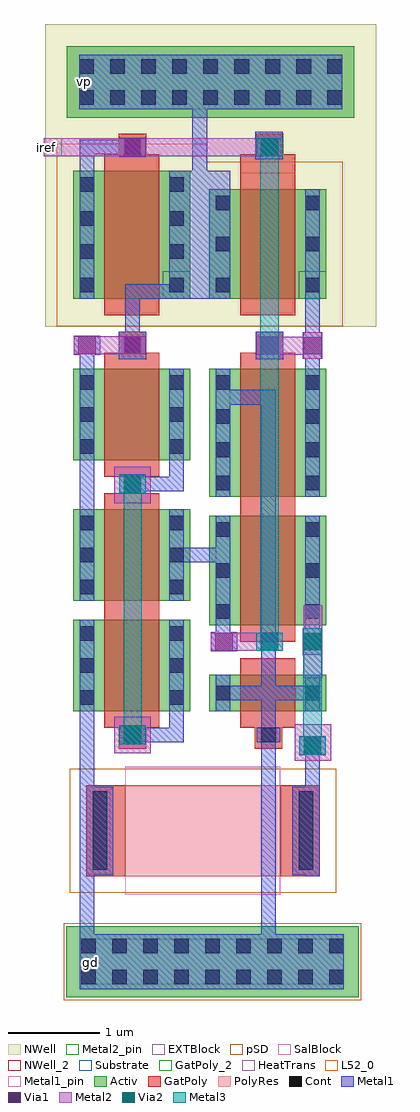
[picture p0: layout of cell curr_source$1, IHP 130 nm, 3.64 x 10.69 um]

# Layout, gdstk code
from math import pi, radians
import gdstk
lib = gdstk.Library(unit=1e-6, precision=1e-09)
def R(c, l, rs):  # rectangles x0, y0, x1, y1
    for r in rs: c.add(gdstk.rectangle(r[:2], r[2:], *l))
def A(c, l, x, y, w, h, nx, ny, dx, dy):  # array of equal rectangles
    R(c, l, [(x+i*dx, y+j*dy, x+i*dx+w, y+j*dy+h) for i in range(nx) for j in range(ny)])
Activ = (1, 0)
GatPoly = (5, 0)
GatPoly_2 = (5, 2)
Cont = (6, 0)
Metal1 = (8, 0)
Metal1_pin = (8, 2)
Metal2 = (10, 0)
Metal2_pin = (10, 2)
pSD = (14, 0)
Via1 = (19, 0)
SalBlock = (28, 0)
Via2 = (29, 0)
Metal3 = (30, 0)
NWell = (31, 0)
NWell_2 = (31, 2)
Substrate = (40, 0)
HeatTrans = (51, 0)
L52_0 = (52, 0)
EXTBlock = (111, 0)
PolyRes = (128, 0)

ntap1_2 = lib.new_cell('ntap1$2')
R(ntap1_2, Activ, [(0,0,3.15,0.78)])
A(ntap1_2, Cont, 0.135, 0.14, 0.16, 0.16, 9, 2, 0.34, 0.34)
R(ntap1_2, Metal1, [(0.135,0.09,3.015,0.69)])
R(ntap1_2, Metal1_pin, [(0.135,0.09,3.015,0.69), (0.135,0.14,3.015,0.64)])
R(ntap1_2, NWell, [(-0.24,-0.24,3.39,1.02), (0,0,3.15,0.78)])
R(ntap1_2, NWell_2, [(0,0,3.15,0.78)])
ntap1_2.add(gdstk.Label('well', (1.575,0.01), layer=31, texttype=0))
ntap1_2.add(gdstk.Label('well', (1.575,0.01), layer=63, texttype=0))

rppd_2 = lib.new_cell('rppd$2')
R(rppd_2, GatPoly, [(0,-0.43,1,-0.2), (0,-0.2,1,0), (0,1.7,1,1.9), (0,1.9,1,2.13)])
R(rppd_2, Cont, [(0.07,-0.36,0.93,-0.2), (0.07,1.9,0.93,2.06)])
R(rppd_2, Metal1, [(0.02,-0.43,0.98,-0.13), (0.02,1.83,0.98,2.13)])
R(rppd_2, Metal1_pin, [(0.02,-0.43,0.98,-0.13), (0.02,1.83,0.98,2.13)])
R(rppd_2, pSD, [(-0.18,-0.61,1.18,0), (-0.18,0,1.18,1.7), (-0.18,1.7,1.18,2.31)])
R(rppd_2, SalBlock, [(-0.2,0,1.2,1.7)])
R(rppd_2, L52_0, [(0,0,1,1.7)])
R(rppd_2, EXTBlock, [(-0.18,-0.61,1.18,0), (-0.2,0,1.2,1.7), (-0.18,1.7,1.18,2.31)])
R(rppd_2, PolyRes, [(0,0,1,1.7)])
rppd_2.add(gdstk.Label('rppd r=509.364', (0.5,0.85), layer=63, texttype=0))
rppd_2.add(gdstk.Label('rppd', (0.5,0.85), layer=52, texttype=0))

via_5_1 = lib.new_cell('Via$5$1')
R(via_5_1, Metal2, [(-0.145,-0.1,0.145,0.1)])
R(via_5_1, Via2, [(-0.095,-0.095,0.095,0.095)])
R(via_5_1, Metal3, [(-0.145,-0.1,0.145,0.1)])

via_13_1 = lib.new_cell('Via$13$1')
R(via_13_1, Metal1, [(-0.145,-0.105,0.145,0.105)])
R(via_13_1, Metal2, [(-0.145,-0.1,0.145,0.1)])
R(via_13_1, Via1, [(-0.095,-0.095,0.095,0.095)])

nmos_1_1 = lib.new_cell('nmos$1$1')
R(nmos_1_1, Activ, [(0,0,1.28,1), (0,0,0.3,0.3), (0.98,0,1.28,0.3)])
R(nmos_1_1, GatPoly, [(0.34,-0.18,0.94,1.18)])
R(nmos_1_1, GatPoly_2, [(0.34,-0.18,0.94,1.18)])
A(nmos_1_1, Cont, 0.07, 0.07, 0.16, 0.16, 1, 3, 0, 0.35)
A(nmos_1_1, Cont, 1.05, 0.07, 0.16, 0.16, 1, 3, 0, 0.35)
R(nmos_1_1, Metal1, [(0.07,0,0.23,1), (1.05,0,1.21,1)])
R(nmos_1_1, Metal1_pin, [(0.07,0,0.23,1), (1.05,0,1.21,1)])
R(nmos_1_1, HeatTrans, [(0.34,-0.18,0.94,1.18)])
nmos_1_1.add(gdstk.Label('nmos', (0.64,0.5), layer=63, texttype=0))
nmos_1_1.add(gdstk.Label('nmos', (0.64,0.5), layer=51, texttype=0))

via_4_1 = lib.new_cell('Via$4$1')
R(via_4_1, Metal1, [(-0.145,-0.105,0.145,0.105)])
R(via_4_1, Metal2, [(-0.145,-0.1,0.145,0.1)])
R(via_4_1, Via1, [(-0.095,-0.095,0.095,0.095)])

nmos_2_1 = lib.new_cell('nmos$2$1')
R(nmos_2_1, Activ, [(0,0,1.28,1.4), (0,0,0.3,0.3), (0.98,0,1.28,0.3)])
R(nmos_2_1, GatPoly, [(0.34,-0.18,0.94,1.58)])
R(nmos_2_1, GatPoly_2, [(0.34,-0.18,0.94,1.58)])
A(nmos_2_1, Cont, 0.07, 0.07, 0.16, 0.16, 1, 3, 0, 0.365)
A(nmos_2_1, Cont, 1.05, 0.07, 0.16, 0.16, 1, 3, 0, 0.365)
R(nmos_2_1, Cont, [(0.07,1.17,0.23,1.33), (1.05,1.17,1.21,1.33)])
R(nmos_2_1, Metal1, [(0.07,0,0.23,1.4), (1.05,0,1.21,1.4)])
R(nmos_2_1, Metal1_pin, [(0.07,0,0.23,1.4), (1.05,0,1.21,1.4)])
R(nmos_2_1, HeatTrans, [(0.34,-0.18,0.94,1.58)])
nmos_2_1.add(gdstk.Label('nmos', (0.64,0.7), layer=63, texttype=0))
nmos_2_1.add(gdstk.Label('nmos', (0.64,0.7), layer=51, texttype=0))

via_3_1 = lib.new_cell('Via$3$1')
R(via_3_1, Metal1, [(-0.145,-0.105,0.145,0.105)])
R(via_3_1, Metal2, [(-0.145,-0.1,0.145,0.1)])
R(via_3_1, Via1, [(-0.095,-0.095,0.095,0.095)])

nmos_15 = lib.new_cell('nmos$15')
R(nmos_15, Activ, [(0,0,1.28,1.2), (0,0,0.3,0.3), (0.98,0,1.28,0.3)])
R(nmos_15, GatPoly, [(0.34,-0.18,0.94,1.38)])
R(nmos_15, GatPoly_2, [(0.34,-0.18,0.94,1.38)])
A(nmos_15, Cont, 0.07, 0.07, 0.16, 0.16, 1, 3, 0, 0.45)
A(nmos_15, Cont, 1.05, 0.07, 0.16, 0.16, 1, 3, 0, 0.45)
R(nmos_15, Metal1, [(0.07,0,0.23,1.2), (1.05,0,1.21,1.2)])
R(nmos_15, Metal1_pin, [(0.07,0,0.23,1.2), (1.05,0,1.21,1.2)])
R(nmos_15, HeatTrans, [(0.34,-0.18,0.94,1.38)])
nmos_15.add(gdstk.Label('nmos', (0.64,0.6), layer=63, texttype=0))
nmos_15.add(gdstk.Label('nmos', (0.64,0.6), layer=51, texttype=0))

via_9_1 = lib.new_cell('Via$9$1')
R(via_9_1, Metal1, [(-0.145,-0.105,0.145,0.105)])
R(via_9_1, Metal2, [(-0.145,-0.1,0.145,0.1)])
R(via_9_1, Via1, [(-0.095,-0.095,0.095,0.095)])

via_42 = lib.new_cell('Via$42')
R(via_42, Metal1, [(-0.145,-0.105,0.145,0.105)])
R(via_42, Metal2, [(-0.145,-0.1,0.145,0.1)])
R(via_42, Via1, [(-0.095,-0.095,0.095,0.095)])

via_7_1 = lib.new_cell('Via$7$1')
R(via_7_1, Metal1, [(-0.145,-0.105,0.145,0.105)])
R(via_7_1, Metal2, [(-0.145,-0.1,0.145,0.1)])
R(via_7_1, Via1, [(-0.095,-0.095,0.095,0.095)])

via_1_1 = lib.new_cell('Via$1$1')
R(via_1_1, GatPoly, [(-0.15,-0.15,0.15,0.15)])
R(via_1_1, Cont, [(-0.08,-0.08,0.08,0.08)])
R(via_1_1, Metal1, [(-0.13,-0.08,0.13,0.08)])

via_10_1 = lib.new_cell('Via$10$1')
R(via_10_1, Metal1, [(-0.145,-0.105,0.145,0.105)])
R(via_10_1, Metal2, [(-0.145,-0.1,0.145,0.1)])
R(via_10_1, Via1, [(-0.095,-0.095,0.095,0.095)])

via_8_1 = lib.new_cell('Via$8$1')
R(via_8_1, Metal1, [(-0.145,-0.105,0.145,0.105)])
R(via_8_1, Metal2, [(-0.145,-0.1,0.145,0.1)])
R(via_8_1, Via1, [(-0.095,-0.095,0.095,0.095)])

pmos_1_1 = lib.new_cell('pmos$1$1')
R(pmos_1_1, Activ, [(0,0,1.28,1.4), (0,0,0.3,0.3), (0.98,0,1.28,0.3)])
R(pmos_1_1, GatPoly, [(0.34,-0.18,0.94,1.58), (0.34,-0.18,0.94,1.58)])
A(pmos_1_1, Cont, 0.07, 0.07, 0.16, 0.16, 1, 3, 0, 0.365)
A(pmos_1_1, Cont, 1.05, 0.07, 0.16, 0.16, 1, 3, 0, 0.365)
R(pmos_1_1, Cont, [(0.07,1.17,0.23,1.33), (1.05,1.17,1.21,1.33)])
R(pmos_1_1, Metal1, [(0.07,0,0.23,1.4), (0.07,0,0.23,1.4), (1.05,0,1.21,1.4), (1.05,0,1.21,1.4)])
R(pmos_1_1, pSD, [(-0.18,-0.3,1.46,1.7)])
R(pmos_1_1, NWell, [(-0.31,-0.31,1.59,1.71)])
R(pmos_1_1, Substrate, [(0.98,0,1.28,0.3)])
R(pmos_1_1, HeatTrans, [(0.34,-0.18,0.94,1.58)])
pmos_1_1.add(gdstk.Label('pmos', (0.64,0.7), layer=63, texttype=0))
pmos_1_1.add(gdstk.Label('pmos', (0.64,0.7), layer=51, texttype=0))

ptap1_2 = lib.new_cell('ptap1$2')
R(ptap1_2, Activ, [(0,0,3.2,0.78)])
A(ptap1_2, Cont, 0.16, 0.14, 0.16, 0.16, 9, 2, 0.34, 0.34)
R(ptap1_2, Metal1, [(0.16,0.09,3.04,0.69), (0.16,0.14,3.04,0.64)])
R(ptap1_2, Metal1_pin, [(0.16,0.14,3.04,0.64)])
R(ptap1_2, pSD, [(-0.03,-0.03,3.23,0.81)])
R(ptap1_2, Substrate, [(0,0,3.2,0.78)])
ptap1_2.add(gdstk.Label('sub!', (1.6,0.01), layer=63, texttype=0))
ptap1_2.add(gdstk.Label('sub!', (1.6,0.01), layer=40, texttype=0))

via_2_1 = lib.new_cell('Via$2$1')
R(via_2_1, Metal2, [(-0.145,-0.1,0.145,0.1)])
R(via_2_1, Via2, [(-0.095,-0.095,0.095,0.095)])
R(via_2_1, Metal3, [(-0.145,-0.1,0.145,0.1)])

via_6_1 = lib.new_cell('Via$6$1')
R(via_6_1, Metal1, [(-0.145,-0.105,0.145,0.105)])
R(via_6_1, Metal2, [(-0.145,-0.1,0.145,0.1)])
R(via_6_1, Via1, [(-0.095,-0.095,0.095,0.095)])

nmos_3_1 = lib.new_cell('nmos$3$1')
R(nmos_3_1, Activ, [(0,0,1.28,0.4), (0,0,0.3,0.3), (0.98,0,1.28,0.3)])
R(nmos_3_1, GatPoly, [(0.34,-0.18,0.94,0.58)])
R(nmos_3_1, GatPoly_2, [(0.34,-0.18,0.94,0.58)])
R(nmos_3_1, Cont, [(0.07,0.12,0.23,0.28), (1.05,0.12,1.21,0.28)])
R(nmos_3_1, Metal1, [(0.07,0,0.23,0.4), (1.05,0,1.21,0.4)])
R(nmos_3_1, Metal1_pin, [(0.07,0,0.23,0.4), (1.05,0,1.21,0.4)])
R(nmos_3_1, HeatTrans, [(0.34,-0.18,0.94,0.58)])
nmos_3_1.add(gdstk.Label('nmos', (0.64,0.2), layer=63, texttype=0))
nmos_3_1.add(gdstk.Label('nmos', (0.64,0.2), layer=51, texttype=0))

pmos_10 = lib.new_cell('pmos$10')
R(pmos_10, Activ, [(0,0,1.28,1.2), (0,0,0.3,0.3), (0.98,0,1.28,0.3)])
R(pmos_10, GatPoly, [(0.34,-0.18,0.94,1.38), (0.34,-0.18,0.94,1.38)])
A(pmos_10, Cont, 0.07, 0.07, 0.16, 0.16, 1, 3, 0, 0.45)
A(pmos_10, Cont, 1.05, 0.07, 0.16, 0.16, 1, 3, 0, 0.45)
R(pmos_10, Metal1, [(0.07,0,0.23,1.2), (0.07,0,0.23,1.2), (1.05,0,1.21,1.2), (1.05,0,1.21,1.2)])
R(pmos_10, pSD, [(-0.18,-0.3,1.46,1.5)])
R(pmos_10, NWell, [(-0.31,-0.31,1.59,1.51)])
R(pmos_10, Substrate, [(0.98,0,1.28,0.3)])
R(pmos_10, HeatTrans, [(0.34,-0.18,0.94,1.38)])
pmos_10.add(gdstk.Label('pmos', (0.64,0.6), layer=63, texttype=0))
pmos_10.add(gdstk.Label('pmos', (0.64,0.6), layer=51, texttype=0))

curr_source_1 = lib.new_cell('curr_source$1')
R(curr_source_1, GatPoly, [(3.695,6.615,4.295,6.815)])
R(curr_source_1, Metal1, [(1.935,-1.07,2.305,-0.115), (2.365,4.57,2.665,4.87), (3.865,4.57,4.165,4.87), (2.915,5.235,3.585,6.635), (3.86,6.765,4.16,7.065)])
R(curr_source_1, Metal1_pin, [(1.95,-2.14,2.15,-1.94), (1.95,7.545,2.08,7.675)])
R(curr_source_1, Metal2, [(4.29,0.17,4.69,0.57), (2.315,0.255,2.715,0.655), (4.39,1.075,4.59,1.875), (2.315,2.995,2.715,3.395)])
R(curr_source_1, Metal2_pin, [(1.54,6.795,1.74,6.995)])
R(curr_source_1, NWell, [(1.555,4.925,5.185,8.245)])
curr_source_1.add(gdstk.FlexPath([(3.505,1.655),(3.505,1.575)], 0.16, ends="flush", simple_path=True, layer=8, datatype=0))  # Metal1
curr_source_1.add(gdstk.FlexPath([(2.915,5.315),(2.435,5.315)], 0.16, ends="flush", simple_path=True, layer=8, datatype=0))  # Metal1
curr_source_1.add(gdstk.FlexPath([(2.995,3.34),(2.995,3.125)], 0.16, ends="flush", simple_path=True, layer=8, datatype=0))  # Metal1
curr_source_1.add(gdstk.FlexPath([(2.015,0.715),(2.015,-1.725),(2.015,-1.725)], 0.16, ends="flush", simple_path=True, layer=8, datatype=0))  # Metal1
curr_source_1.add(gdstk.FlexPath([(3.575,4.155),(4.005,4.155),(4.005,-0.965)], 0.16, ends="flush", simple_path=True, layer=8, datatype=0))  # Metal1
curr_source_1.add(gdstk.FlexPath([(2.515,4.805),(2.515,5.2)], 0.16, ends="flush", simple_path=True, layer=8, datatype=0))  # Metal1
curr_source_1.add(gdstk.FlexPath([(3.075,2.425),(3.425,2.425)], 0.16, ends="flush", simple_path=True, layer=8, datatype=0))  # Metal1
curr_source_1.add(gdstk.FlexPath([(4.485,4.49),(4.485,4.465)], 0.16, ends="flush", simple_path=True, layer=8, datatype=0))  # Metal1
curr_source_1.add(gdstk.FlexPath([(4.485,5.235),(4.485,4.48)], 0.16, ends="flush", simple_path=True, layer=8, datatype=0))  # Metal1
curr_source_1.add(gdstk.FlexPath([(2.515,5.15),(2.515,5.395)], 0.16, ends="flush", simple_path=True, layer=8, datatype=0))  # Metal1
curr_source_1.add(gdstk.FlexPath([(2.365,6.895),(2.515,6.895)], 0.16, ends="flush", simple_path=True, layer=8, datatype=0))  # Metal1
curr_source_1.add(gdstk.FlexPath([(2.015,6.635),(2.015,6.885),(2.015,6.89),(2.015,6.895),(2.385,6.895),(2.385,6.895),(2.385,6.895)], 0.16, ends="flush", simple_path=True, layer=8, datatype=0))  # Metal1
curr_source_1.add(gdstk.FlexPath([(2.515,0.455),(2.515,0.455)], 0.16, ends="flush", simple_path=True, layer=8, datatype=0))  # Metal1
curr_source_1.add(gdstk.FlexPath([(4.485,4.72),(4.485,4.72)], 0.16, ends="flush", simple_path=True, layer=8, datatype=0))  # Metal1
curr_source_1.add(gdstk.FlexPath([(2.515,4.725),(2.515,4.725)], 0.16, ends="flush", simple_path=True, layer=8, datatype=0))  # Metal1
curr_source_1.add(gdstk.FlexPath([(4.015,6.895),(4.015,6.895)], 0.16, ends="flush", simple_path=True, layer=8, datatype=0))  # Metal1
curr_source_1.add(gdstk.FlexPath([(2.995,0.715),(2.995,0.375)], 0.16, ends="flush", simple_path=True, layer=8, datatype=0))  # Metal1
curr_source_1.add(gdstk.FlexPath([(4.485,0.335),(4.485,-1.095)], 0.16, ends="flush", simple_path=True, layer=8, datatype=0))  # Metal1
curr_source_1.add(gdstk.FlexPath([(4.005,-1.68),(4.005,-2.33)], 0.16, ends="flush", simple_path=True, layer=8, datatype=0))  # Metal1
curr_source_1.add(gdstk.FlexPath([(3.995,0.915),(3.585,0.915),(3.585,0.915)], 0.16, ends="flush", simple_path=True, layer=8, datatype=0))  # Metal1
curr_source_1.add(gdstk.FlexPath([(4.485,1.655),(4.485,1.48)], 0.16, ends="flush", simple_path=True, layer=8, datatype=0))  # Metal1
curr_source_1.add(gdstk.FlexPath([(3.995,0.915),(4.405,0.915)], 0.16, ends="flush", simple_path=True, layer=8, datatype=0))  # Metal1
curr_source_1.add(gdstk.FlexPath([(2.995,3.465),(2.995,3.285)], 0.16, ends="flush", simple_path=True, layer=8, datatype=0))  # Metal1
curr_source_1.add(gdstk.FlexPath([(2.015,-1.53),(2.015,-2.33)], 0.16, ends="flush", simple_path=True, layer=8, datatype=0))  # Metal1
curr_source_1.add(gdstk.FlexPath([(2.515,3.205),(3.075,3.205)], 0.16, ends="flush", simple_path=True, layer=8, datatype=0))  # Metal1
curr_source_1.add(gdstk.FlexPath([(3.25,6.635),(3.25,7.315)], 0.16, ends="flush", simple_path=True, layer=8, datatype=0))  # Metal1
curr_source_1.add(gdstk.FlexPath([(2.015,2.925),(2.015,3.465)], 0.16, ends="flush", simple_path=True, layer=8, datatype=0))  # Metal1
curr_source_1.add(gdstk.FlexPath([(4.005,-0.815),(4.005,-1.775)], 0.16, ends="flush", simple_path=True, layer=8, datatype=0))  # Metal1
curr_source_1.add(gdstk.FlexPath([(2.015,4.465),(2.015,4.62)], 0.16, ends="flush", simple_path=True, layer=8, datatype=0))  # Metal1
curr_source_1.add(gdstk.FlexPath([(2.645,0.455),(3.075,0.455)], 0.16, ends="flush", simple_path=True, layer=8, datatype=0))  # Metal1
curr_source_1.add(gdstk.FlexPath([(4.015,6.895),(4.015,6.895)], 0.16, ends="flush", simple_path=True, layer=10, datatype=0))  # Metal2
curr_source_1.add(gdstk.FlexPath([(3.695,1.475),(3.515,1.475)], 0.16, ends="flush", simple_path=True, layer=10, datatype=0))  # Metal2
curr_source_1.add(gdstk.FlexPath([(4.015,4.72),(4.485,4.72)], 0.2, ends="flush", simple_path=True, layer=10, datatype=0))  # Metal2
curr_source_1.add(gdstk.FlexPath([(2.515,4.725),(1.87,4.725)], 0.2, ends="flush", simple_path=True, layer=10, datatype=0))  # Metal2
curr_source_1.add(gdstk.FlexPath([(2.515,6.895),(4.015,6.895)], 0.2, ends="flush", simple_path=True, layer=10, datatype=0))  # Metal2
curr_source_1.add(gdstk.FlexPath([(2.515,6.895),(1.54,6.895)], 0.2, ends="flush", simple_path=True, layer=10, datatype=0))  # Metal2
curr_source_1.add(gdstk.FlexPath([(4.015,1.475),(3.65,1.475)], 0.2, ends="flush", simple_path=True, layer=10, datatype=0))  # Metal2
curr_source_1.add(gdstk.FlexPath([(4.485,0.335),(4.485,0.335)], 0.2, ends="flush", simple_path=True, layer=10, datatype=0))  # Metal2
curr_source_1.add(gdstk.FlexPath([(2.515,0.455),(2.515,0.455)], 0.2, ends="flush", simple_path=True, layer=10, datatype=0))  # Metal2
curr_source_1.add(gdstk.FlexPath([(4.485,1.48),(4.485,1.48)], 0.2, ends="flush", simple_path=True, layer=10, datatype=0))  # Metal2
curr_source_1.add(gdstk.FlexPath([(2.515,3.205),(2.515,3.205)], 0.2, ends="flush", simple_path=True, layer=10, datatype=0))  # Metal2
curr_source_1.add(gdstk.FlexPath([(4.015,6.895),(4.015,1.58)], 0.2, ends="flush", simple_path=True, layer=30, datatype=0))  # Metal3
curr_source_1.add(gdstk.FlexPath([(2.515,3.14),(2.515,3.205)], 0.2, ends="flush", simple_path=True, layer=30, datatype=0))  # Metal3
curr_source_1.add(gdstk.FlexPath([(2.515,0.455),(2.515,2.99)], 0.2, ends="flush", simple_path=True, layer=30, datatype=0))  # Metal3
curr_source_1.add(gdstk.FlexPath([(4.015,1.58),(4.015,1.475)], 0.2, ends="flush", simple_path=True, layer=30, datatype=0))  # Metal3
curr_source_1.add(gdstk.FlexPath([(2.515,2.96),(2.515,3.18)], 0.2, ends="flush", simple_path=True, layer=30, datatype=0))  # Metal3
curr_source_1.add(gdstk.FlexPath([(4.485,1.48),(4.485,0.335)], 0.2, ends="flush", simple_path=True, layer=30, datatype=0))  # Metal3
curr_source_1.add(gdstk.Reference(ntap1_2, (1.795,7.22)))
curr_source_1.add(gdstk.Reference(rppd_2, (2.435,-0.095), rotation=3*pi/2))
curr_source_1.add(gdstk.Reference(via_5_1, (4.485,1.48), rotation=3*pi/2))
curr_source_1.add(gdstk.Reference(via_13_1, (4.485,1.48), rotation=3*pi/2))
curr_source_1.add(gdstk.Reference(nmos_1_1, (1.865,0.715)))
curr_source_1.add(gdstk.Reference(nmos_1_1, (1.865,1.925)))
curr_source_1.add(gdstk.Reference(nmos_1_1, (1.865,3.465)))
curr_source_1.add(gdstk.Reference(via_4_1, (3.515,1.475)))
curr_source_1.add(gdstk.Reference(via_13_1, (4.485,0.335)))
curr_source_1.add(gdstk.Reference(nmos_2_1, (3.355,3.065)))
curr_source_1.add(gdstk.Reference(via_5_1, (4.485,0.335)))
curr_source_1.add(gdstk.Reference(via_5_1, (2.515,0.455)))
curr_source_1.add(gdstk.Reference(via_5_1, (2.515,3.205)))
curr_source_1.add(gdstk.Reference(via_5_1, (4.015,6.895)))
curr_source_1.add(gdstk.Reference(via_3_1, (4.015,6.895)))
curr_source_1.add(gdstk.Reference(nmos_15, (3.355,1.655)))
curr_source_1.add(gdstk.Reference(via_9_1, (4.015,4.72)))
curr_source_1.add(gdstk.Reference(via_42, (2.515,6.895)))
curr_source_1.add(gdstk.Reference(via_7_1, (2.515,4.725)))
curr_source_1.add(gdstk.Reference(via_1_1, (2.515,0.455)))
curr_source_1.add(gdstk.Reference(via_1_1, (4.005,0.455)))
curr_source_1.add(gdstk.Reference(via_1_1, (2.515,4.725)))
curr_source_1.add(gdstk.Reference(via_1_1, (4.015,4.725)))
curr_source_1.add(gdstk.Reference(via_1_1, (2.515,6.895)))
curr_source_1.add(gdstk.Reference(via_1_1, (4.015,6.895)))
curr_source_1.add(gdstk.Reference(via_10_1, (2.515,0.455)))
curr_source_1.add(gdstk.Reference(via_8_1, (2.515,3.205)))
curr_source_1.add(gdstk.Reference(pmos_1_1, (1.865,5.235)))
curr_source_1.add(gdstk.Reference(ptap1_2, (1.79,-2.42)))
curr_source_1.add(gdstk.Reference(via_7_1, (4.485,4.72), rotation=3*pi/2))
curr_source_1.add(gdstk.Reference(via_2_1, (4.015,1.475)))
curr_source_1.add(gdstk.Reference(via_6_1, (2.015,4.725)))
curr_source_1.add(gdstk.Reference(nmos_3_1, (3.355,0.715)))
curr_source_1.add(gdstk.Reference(pmos_10, (3.355,5.235)))
curr_source_1.add(gdstk.Label('vp', (1.99,7.61), layer=8, texttype=25))
curr_source_1.add(gdstk.Label('gd', (2.05,-2.04), layer=8, texttype=25))
curr_source_1.add(gdstk.Label('iref', (1.567,6.897), layer=10, texttype=25))

lib.write_gds('curr_source_1.gds')
